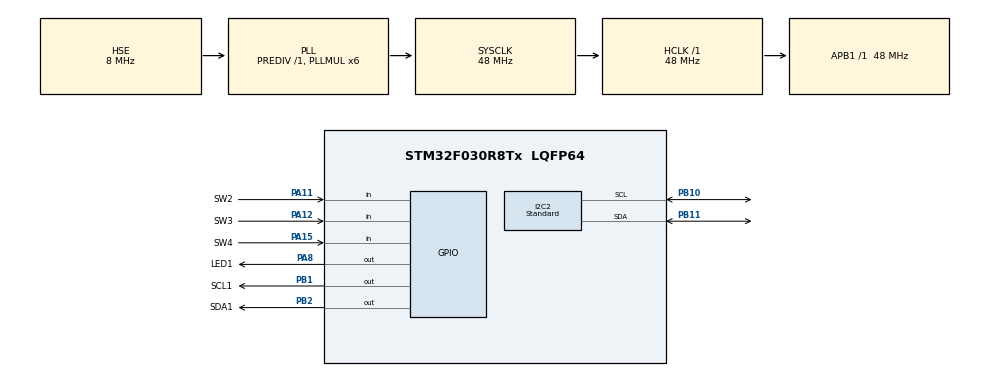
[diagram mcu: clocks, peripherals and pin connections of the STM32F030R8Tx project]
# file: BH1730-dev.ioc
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I2C2.DualAddressMode=I2C_DUALADDRESS_DISABLE
I2C2.I2C_Fall_Time=10
I2C2.I2C_Rise_Time=100
I2C2.I2C_Speed_Mode=I2C_Standard
I2C2.OwnAddress=0
I2C2.Timing=0x10805E89
Mcu.Family=STM32F0
Mcu.Name=STM32F030R8Tx
Mcu.Package=LQFP64
PA11.GPIO_Label=SW2
PA11.GPIO_PuPd=GPIO_PULLUP
PA11.Signal=GPIO_Input
PA12.GPIO_Label=SW3
PA12.GPIO_PuPd=GPIO_PULLUP
PA12.Signal=GPIO_Input
PA13.Mode=Serial_Wire
PA13.Signal=SYS_SWDIO
PA14.Mode=Serial_Wire
PA14.Signal=SYS_SWCLK
PA15.GPIO_Label=SW4
PA15.GPIO_PuPd=GPIO_PULLUP
PA15.Signal=GPIO_Input
PA8.GPIO_Label=LED1
PA8.GPIO_ModeDefaultOutputPP=GPIO_MODE_OUTPUT_OD
PA8.GPIO_Speed=GPIO_SPEED_FREQ_LOW
PA8.PinState=GPIO_PIN_SET
PA8.Signal=GPIO_Output
PB1.GPIO_Label=SCL1
PB1.GPIO_ModeDefaultOutputPP=GPIO_MODE_OUTPUT_OD
PB1.GPIO_Speed=GPIO_SPEED_FREQ_HIGH
PB1.Signal=GPIO_Output
PB10.GPIO_Pu=GPIO_PULLUP
PB10.Mode=I2C
PB10.Signal=I2C2_SCL
PB11.GPIO_Pu=GPIO_PULLUP
PB11.Mode=I2C
PB11.Signal=I2C2_SDA
PB2.GPIO_Label=SDA1
PB2.GPIO_ModeDefaultOutputPP=GPIO_MODE_OUTPUT_OD
PB2.GPIO_Speed=GPIO_SPEED_FREQ_HIGH
PB2.Signal=GPIO_Output
PF0-OSC_IN.Mode=HSE-External-Oscillator
PF0-OSC_IN.Signal=RCC_OSC_IN
PF1-OSC_OUT.Mode=HSE-External-Oscillator
PF1-OSC_OUT.Signal=RCC_OSC_OUT
ProjectManager.HeapSize=0x200
ProjectManager.StackSize=0x400
ProjectManager.TargetToolchain=Makefile
RCC.AHBFreq_Value=48000000
RCC.APB1Freq_Value=48000000
RCC.APB1TimFreq_Value=48000000
RCC.EnbaleCSS=true
RCC.HCLKFreq_Value=48000000
RCC.PLLMUL=RCC_PLL_MUL6
RCC.PLLSourceVirtual=RCC_PLLSOURCE_HSE
RCC.SYSCLKFreq_VALUE=48000000
RCC.SYSCLKSource=RCC_SYSCLKSOURCE_PLLCLK
board=custom

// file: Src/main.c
/* USER CODE BEGIN Header */
/**
  ******************************************************************************
  * @file           : main.c
  * @brief          : Main program body
  ******************************************************************************
  * @attention
  *
  * <h2><center>&copy; Copyright (c) 2020 STMicroelectronics.
  * All rights reserved.</center></h2>
  *
  * This software component is licensed by ST under BSD 3-Clause license,
  * the "License"; You may not use this file except in compliance with the
  * License. You may obtain a copy of the License at:
  *                        opensource.org/licenses/BSD-3-Clause
  *
  ******************************************************************************
  */
/* USER CODE END Header */
#include "main.h"
#include "i2c.h"
#include "gpio.h"

/* USER CODE BEGIN Includes */
// #include "math.h"
#include "oled.h"
// #include "bmp.h"
#include "max44009.h"
#include "bh1730.h"
// #include "shutter.h"
// #include "motor.h"
// #include "flash.h"
// #include "utils.h"
#include "stm32f0xx_it.h"
// #include "stm32f0xx_lp_modes.h"
/* USER CODE END Includes */

/* USER CODE BEGIN PD */
// #define VREFINT_CAL_ADDR ((uint16_t*)((uint32_t)0x1FFFF7BA))
/* USER CODE END PD */

void SystemClock_Config(void);

int main(void)
{
  /* USER CODE BEGIN 1 */
  // double brightness =0;
  /* USER CODE END 1 */

  /* MCU Configuration--------------------------------------------------------*/

  /* Reset of all peripherals, Initializes the Flash interface and the Systick. */
  HAL_Init();

  /* Configure the system clock */
  SystemClock_Config();

  /* Initialize all configured peripherals */
  MX_GPIO_Init();
  MX_I2C2_Init();
  /* USER CODE BEGIN 2 */
  OLED_Init();
  /* USER CODE END 2 */

  /* Infinite loop */
  /* USER CODE BEGIN WHILE */

  uint32_t lux = 0;

  while (1)
  {
    /* USER CODE END WHILE */

    /* USER CODE BEGIN 3 */

      // OLED_ShowString(0, 0, "BH1730 TEST", 12, 1);
      // OLED_ShowNum(72, 24, film, 2, 16, 1);
      // OLED_Refresh();
      // LED1_1;
      // HAL_Delay(1000);
      // LED1_0;
      // HAL_Delay(1000);

      OLED_ShowString(0, 0, "BH1730", 12, 1);
      // OLED_ShowNum(72, 24, film, 2, 16, 1);
      OLED_Refresh();

      lux = BH1730_GetLux();
      OLED_ShowNum(0, 20, lux, 10, 12, 1);
      OLED_Refresh();
      HAL_Delay(1500);
      OLED_Clear();
  }
  /* USER CODE END 3 */
}

void SystemClock_Config(void)
{
  RCC_OscInitTypeDef RCC_OscInitStruct = {0};
  RCC_ClkInitTypeDef RCC_ClkInitStruct = {0};

  /** Initializes the RCC Oscillators according to the specified parameters
  * in the RCC_OscInitTypeDef structure.
  */
  RCC_OscInitStruct.OscillatorType = RCC_OSCILLATORTYPE_HSE;
  RCC_OscInitStruct.HSEState = RCC_HSE_ON;
  RCC_OscInitStruct.PLL.PLLState = RCC_PLL_ON;
  RCC_OscInitStruct.PLL.PLLSource = RCC_PLLSOURCE_HSE;
  RCC_OscInitStruct.PLL.PLLMUL = RCC_PLL_MUL6;
  RCC_OscInitStruct.PLL.PREDIV = RCC_PREDIV_DIV1;
  if (HAL_RCC_OscConfig(&RCC_OscInitStruct) != HAL_OK)
  {
    Error_Handler();
  }
  /** Initializes the CPU, AHB and APB buses clocks
  */
  RCC_ClkInitStruct.ClockType = RCC_CLOCKTYPE_HCLK|RCC_CLOCKTYPE_SYSCLK
                              |RCC_CLOCKTYPE_PCLK1;
  RCC_ClkInitStruct.SYSCLKSource = RCC_SYSCLKSOURCE_PLLCLK;
  RCC_ClkInitStruct.AHBCLKDivider = RCC_SYSCLK_DIV1;
  RCC_ClkInitStruct.APB1CLKDivider = RCC_HCLK_DIV1;

  if (HAL_RCC_ClockConfig(&RCC_ClkInitStruct, FLASH_LATENCY_1) != HAL_OK)
  {
    Error_Handler();
  }
  /** Enables the Clock Security System
  */
  HAL_RCC_EnableCSS();
}

/* USER CODE BEGIN 4 */
void HAL_GPIO_EXTI_Callback(uint16_t GPIO_Pin)
{
  // if (GPIO_Pin == CNTER_IN_Pin)
  // {
  //   film = 10;
  // }
}
/* USER CODE END 4 */

void Error_Handler(void)
{
  /* USER CODE BEGIN Error_Handler_Debug */
  /* User can add his own implementation to report the HAL error return state */
  LED1_0;
  HAL_Delay(200);
  LED1_1;
  HAL_Delay(200);
  LED1_0;
  HAL_Delay(200);
  // LED1_1;
  // HAL_Delay(200);
  // LED1_0;
  // HAL_Delay(200);
  // LED1_1;
  // HAL_Delay(200);
  // LED1_0;
  // HAL_Delay(200);
  // LED1_1;
  // HAL_Delay(200);
  /* USER CODE END Error_Handler_Debug */
}

/************************ (C) COPYRIGHT STMicroelectronics *****END OF FILE****/
